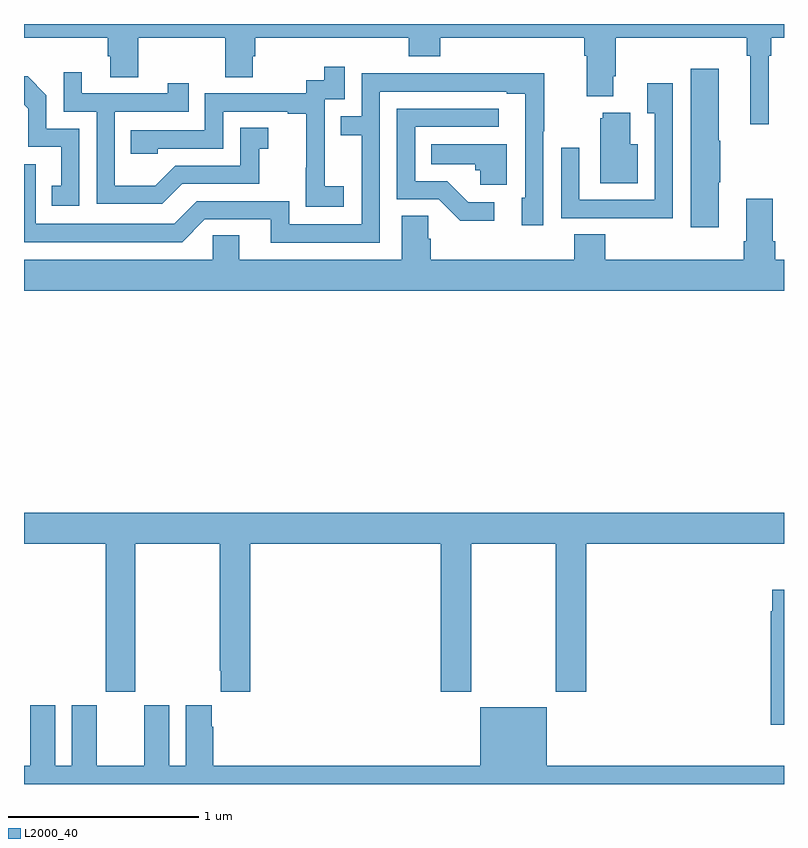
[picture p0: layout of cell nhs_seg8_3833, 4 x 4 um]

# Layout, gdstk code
import gdstk
lib = gdstk.Library(unit=1e-6, precision=1e-09)
def P(c, l, *ps):  # polygons
    for p in ps: c.add(gdstk.Polygon(p, *l))
L2000_40 = (2000, 40)

nhs_seg8_3833 = lib.new_cell('nhs_seg8_3833')
P(nhs_seg8_3833, L2000_40, [(350.919,1121.732),(350.933,1121.732),(350.933,1121.828),(351,1121.828),(351,1121.9),(347,1121.9),(347,1121.828),(347.441,1121.828),(347.441,1121.73),(347.453,1121.73),(347.453,1121.62),(347.601,1121.62),(347.601,1121.828),(348.058,1121.828),(348.058,1121.62),(348.205,1121.62),(348.205,1121.73),(348.218,1121.73),(348.218,1121.828),(349.025,1121.828),(349.025,1121.729),(349.19,1121.729),(349.19,1121.828),(349.949,1121.828),(349.949,1121.732),(349.961,1121.732),(349.961,1121.519),(350.101,1121.519),(350.101,1121.626),(350.114,1121.626),(350.114,1121.828),(350.803,1121.828),(350.803,1121.732),(350.822,1121.732),(350.822,1121.373),(350.919,1121.373)],
  [(348.682,1121.047),(348.584,1121.047),(348.584,1121.276),(348.582,1121.276),(348.582,1121.505),(348.687,1121.505),(348.687,1121.674),(348.579,1121.674),(348.579,1121.604),(348.486,1121.604),(348.486,1121.535),(347.952,1121.535),(347.952,1121.34),(347.563,1121.34),(347.563,1121.217),(347.703,1121.217),(347.703,1121.244),(348.048,1121.244),(348.048,1121.439),(348.389,1121.439),(348.389,1121.427),(348.485,1121.427),(348.485,1121.143),(348.484,1121.143),(348.484,1120.937),(348.682,1120.937)],
  [(350.656,1121.068),(350.664,1121.068),(350.664,1121.285),(350.656,1121.285),(350.656,1121.665),(350.51,1121.665),(350.51,1120.83),(350.656,1120.83)],
  [(347.833,1121.058),(348.237,1121.058),(348.237,1121.243),(348.286,1121.243),(348.286,1121.353),(348.138,1121.353),(348.138,1121.154),(347.796,1121.154),(347.692,1121.05),(347.478,1121.05),(347.478,1121.439),(347.867,1121.439),(347.867,1121.587),(347.756,1121.587),(347.756,1121.535),(347.305,1121.535),(347.305,1121.647),(347.208,1121.647),(347.208,1121.439),(347.382,1121.439),(347.382,1120.953),(347.728,1120.953)],
  [(348.873,1121.544),(349.541,1121.544),(349.541,1121.532),(349.638,1121.532),(349.638,1120.986),(349.619,1120.986),(349.619,1120.842),(349.734,1120.842),(349.734,1121.335),(349.737,1121.335),(349.737,1121.642),(349.273,1121.642),(349.273,1121.64),(348.777,1121.64),(348.777,1121.415),(348.667,1121.415),(348.667,1121.314),(348.777,1121.314),(348.777,1120.845),(348.396,1120.845),(348.396,1120.968),(347.91,1120.968),(347.79,1120.848),(347.061,1120.848),(347.061,1121.163),(347,1121.163),(347,1120.752),(347.832,1120.752),(347.952,1120.872),(348.299,1120.872),(348.299,1120.749),(348.873,1120.749)],
  [(347.292,1121.349),(347.118,1121.349),(347.118,1121.526),(347.02,1121.624),(347,1121.624),(347,1121.476),(347.022,1121.454),(347.022,1121.253),(347.195,1121.253),(347.195,1121.049),(347.146,1121.049),(347.146,1120.944),(347.292,1120.944)],
  [(350.415,1121.587),(350.279,1121.587),(350.279,1121.431),(350.319,1121.431),(350.319,1120.974),(349.923,1120.974),(349.923,1121.248),(349.827,1121.248),(349.827,1120.878),(350.143,1120.878),(350.143,1120.877),(350.415,1120.877)],
  [(349.474,1120.962),(349.339,1120.962),(349.228,1121.073),(349.059,1121.073),(349.059,1121.358),(349.498,1121.358),(349.498,1121.454),(348.963,1121.454),(348.963,1120.977),(349.182,1120.977),(349.295,1120.865),(349.474,1120.865)],
  [(350.23,1121.266),(350.191,1121.266),(350.191,1121.434),(350.045,1121.434),(350.045,1121.403),(350.033,1121.403),(350.033,1121.063),(350.23,1121.063)],
  [(349.54,1121.266),(349.144,1121.266),(349.144,1121.162),(349.375,1121.162),(349.375,1121.13),(349.401,1121.13),(349.401,1121.054),(349.54,1121.054)],
  [(347.994,1120.787),(347.994,1120.66),(347,1120.66),(347,1120.496),(351,1120.496),(351,1120.66),(350.954,1120.66),(350.954,1120.756),(350.941,1120.756),(350.941,1120.981),(350.801,1120.981),(350.801,1120.756),(350.789,1120.756),(350.789,1120.66),(350.06,1120.66),(350.06,1120.793),(349.895,1120.793),(349.895,1120.66),(349.142,1120.66),(349.142,1120.769),(349.128,1120.769),(349.128,1120.892),(348.989,1120.892),(348.989,1120.66),(348.133,1120.66),(348.133,1120.787)],
  [(347.586,1119.164),(348.031,1119.164),(348.031,1118.497),(348.035,1118.497),(348.035,1118.385),(348.191,1118.385),(348.191,1119.164),(349.193,1119.164),(349.193,1118.385),(349.353,1118.385),(349.353,1119.164),(349.798,1119.164),(349.798,1118.385),(349.958,1118.385),(349.958,1119.164),(351,1119.164),(351,1119.328),(347,1119.328),(347,1119.164),(347.431,1119.164),(347.431,1118.385),(347.586,1118.385)],
  [(351,1118.923),(350.937,1118.923),(350.937,1118.81),(350.929,1118.81),(350.929,1118.213),(351,1118.213)],
  [(351,1117.996),(349.75,1117.996),(349.75,1118.305),(349.4,1118.305),(349.4,1117.996),(347.996,1117.996),(347.996,1118.201),(347.989,1118.201),(347.989,1118.314),(347.852,1118.314),(347.852,1117.996),(347.764,1117.996),(347.764,1118.314),(347.633,1118.314),(347.633,1117.996),(347.383,1117.996),(347.383,1118.314),(347.252,1118.314),(347.252,1117.996),(347.164,1117.996),(347.164,1118.314),(347.033,1118.314),(347.033,1117.996),(347,1117.996),(347,1117.9),(351,1117.9)])

lib.write_gds('nhs_seg8_3833.gds')
